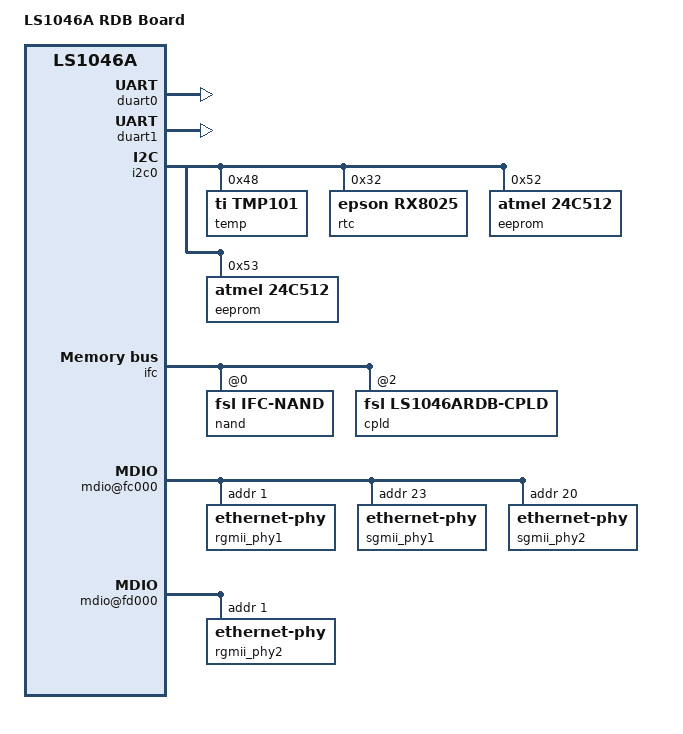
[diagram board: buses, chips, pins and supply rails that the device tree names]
// SPDX-License-Identifier: (GPL-2.0+ OR MIT)
/*
 * Device Tree Include file for Freescale Layerscape-1046A family SoC.
 *
 * Copyright 2016 Freescale Semiconductor, Inc.
 *
 * Mingkai Hu <mingkai.hu@nxp.com>
 */

/dts-v1/;

#include "hcen1004a-ls1046a.dtsi"

/ {
	model = "LS1046A RDB Board";
	compatible = "fsl,ls1046a-rdb", "fsl,ls1046a";

	aliases {
		serial0 = &duart0;
		serial1 = &duart1;
		serial2 = &duart2;
		serial3 = &duart3;
	};

	chosen {
		stdout-path = "serial0:115200n8";
	};
};

&duart0 {
	status = "okay";
};

&duart1 {
	status = "okay";
};



&i2c0 {
	status = "okay";

	temp@48 {
		compatible = "ti,tmp101";
		reg = <0x48>;
	};

	rtc@32 {
		compatible = "epson,rx8025";
		reg = <0x32>;
	};

	eeprom@56 {
		compatible = "atmel,24c512";
		reg = <0x52>;
	};

	eeprom@57 {
		compatible = "atmel,24c512";
		reg = <0x53>;
	};
};

&ifc {
	#address-cells = <2>;
	#size-cells = <1>;
	/* NAND Flashe and CPLD on board */
	ranges = <0x0 0x0 0x0 0x7e800000 0x00010000
		  0x2 0x0 0x0 0x7fb00000 0x00000100>;
	status = "okay";

	nand@0,0 {
		compatible = "fsl,ifc-nand";
		#address-cells = <1>;
		#size-cells = <1>;
		reg = <0x0 0x0 0x10000>;
	};

	cpld: board-control@2,0 {
		compatible = "fsl,ls1046ardb-cpld";
		reg = <0x2 0x0 0x0000100>;
	};
};

&qspi {
	num-cs = <2>;
	bus-num = <0>;
	status = "disable";
	fsl,qspi-has-second-chip;

	qflash0: s25fs512s@0 {
		compatible = "spansion,m25p80";
		#address-cells = <1>;
		#size-cells = <1>;
		spi-max-frequency = <50000000>;
		reg = <0>;
		spi-rx-bus-width = <4>;
		spi-tx-bus-width = <4>;
	};

	qflash1: s25fs512s@1 {
		compatible = "spansion,m25p80";
		#address-cells = <1>;
		#size-cells = <1>;
		spi-max-frequency = <50000000>;
		reg = <1>;
		spi-rx-bus-width = <4>;
		spi-tx-bus-width = <4>;
	};
};

#include "fsl-ls1046-post.dtsi"

&fman0 {
	ethernet@e4000 {
		phy-handle = <&rgmii_phy1>;
		phy-connection-type = "rgmii";
	};

	ethernet@e6000 {
		phy-handle = <&rgmii_phy2>;
		phy-connection-type = "rgmii";
	};

	ethernet@e8000 {
		phy-handle = <&sgmii_phy1>;
		phy-connection-type = "sgmii";
	};

	ethernet@ea000 {
		phy-handle = <&sgmii_phy2>;
		phy-connection-type = "sgmii";
	};

	ethernet@f0000 { /* 10GEC1 */
		fixed-link = <0 1 10000 0 0>;
		phy-connection-type = "xgmii";
	};

	ethernet@f2000 { /* 10GEC2 */
		fixed-link = <0 1 10000 0 0>;
		phy-connection-type = "xgmii";
	};

	mdio@fc000 {

		rgmii_phy1: ethernet-phy@1 {
			reg = <0x1>;
		};

		sgmii_phy1: ethernet-phy@17 {
			reg = <0x17>;
		};

		sgmii_phy2: ethernet-phy@14 {
			reg = <0x14>;
		};
	};

	mdio@fd000 {

		rgmii_phy2: ethernet-phy@5 {
			reg = <0x1>;
		};
	};
};

